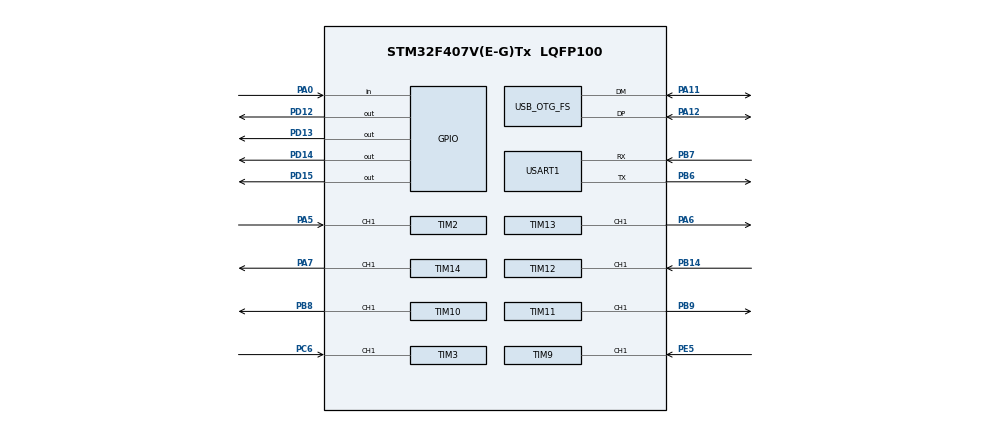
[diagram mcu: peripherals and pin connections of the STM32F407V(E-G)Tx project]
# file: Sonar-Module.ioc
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Dma.Request0=USART1_RX
Dma.Request1=USART1_TX
Dma.USART1_RX.0.Channel=DMA_CHANNEL_4
Dma.USART1_RX.0.Direction=DMA_PERIPH_TO_MEMORY
Dma.USART1_RX.0.FIFOMode=DMA_FIFOMODE_DISABLE
Dma.USART1_RX.0.Instance=DMA2_Stream2
Dma.USART1_RX.0.MemDataAlignment=DMA_MDATAALIGN_BYTE
Dma.USART1_RX.0.MemInc=DMA_MINC_ENABLE
Dma.USART1_RX.0.Mode=DMA_NORMAL
Dma.USART1_RX.0.PeriphDataAlignment=DMA_PDATAALIGN_BYTE
Dma.USART1_RX.0.PeriphInc=DMA_PINC_DISABLE
Dma.USART1_RX.0.Priority=DMA_PRIORITY_LOW
Dma.USART1_TX.1.Channel=DMA_CHANNEL_4
Dma.USART1_TX.1.Direction=DMA_MEMORY_TO_PERIPH
Dma.USART1_TX.1.FIFOMode=DMA_FIFOMODE_DISABLE
Dma.USART1_TX.1.Instance=DMA2_Stream7
Dma.USART1_TX.1.MemDataAlignment=DMA_MDATAALIGN_BYTE
Dma.USART1_TX.1.MemInc=DMA_MINC_DISABLE
Dma.USART1_TX.1.Mode=DMA_NORMAL
Dma.USART1_TX.1.PeriphDataAlignment=DMA_PDATAALIGN_BYTE
Dma.USART1_TX.1.PeriphInc=DMA_PINC_DISABLE
Dma.USART1_TX.1.Priority=DMA_PRIORITY_LOW
Mcu.Family=STM32F4
Mcu.Name=STM32F407V(E-G)Tx
Mcu.Package=LQFP100
NVIC.OTG_FS_IRQn=true\:0\:0
NVIC.TIM1_BRK_TIM9_IRQn=true\:0\:0
NVIC.TIM2_IRQn=true\:0\:0
NVIC.TIM3_IRQn=true\:0\:0
NVIC.TIM8_BRK_TIM12_IRQn=true\:0\:0
NVIC.USART1_IRQn=true\:0\:0
PA0-WKUP.Signal=GPIO_Input
PA11.Mode=Device_Only
PA11.Signal=USB_OTG_FS_DM
PA12.Mode=Device_Only
PA12.Signal=USB_OTG_FS_DP
PA5.GPIO_ModeDefaultPP=GPIO_MODE_AF_PP
PA5.GPIO_PuPd=GPIO_NOPULL
PA5.GPIO_Speed=N/A
PA5.Signal=S_TIM2_CH1_ETR
PA6.GPIO_ModeDefaultPP=GPIO_MODE_AF_PP
PA6.GPIO_PuPd=GPIO_NOPULL
PA6.GPIO_Speed=N/A
PA6.Signal=S_TIM13_CH1
PA7.GPIO_ModeDefaultPP=GPIO_MODE_AF_PP
PA7.GPIO_PuPd=GPIO_NOPULL
PA7.GPIO_Speed=N/A
PA7.Signal=S_TIM14_CH1
PB14.GPIO_ModeDefaultPP=GPIO_MODE_AF_PP
PB14.GPIO_PuPd=GPIO_NOPULL
PB14.GPIO_Speed=N/A
PB14.Signal=S_TIM12_CH1
PB6.Mode=Asynchronous
PB6.Signal=USART1_TX
PB7.Mode=Asynchronous
PB7.Signal=USART1_RX
PB8.Signal=S_TIM10_CH1
PB9.Signal=S_TIM11_CH1
PC6.Signal=S_TIM3_CH1
PD12.GPIO_Mode=GPIO_MODE_OUTPUT_PP
PD12.GPIO_PuPd=GPIO_NOPULL
PD12.GPIO_Speed=GPIO_SPEED_HIGH
PD12.Signal=GPIO_Output
PD13.GPIO_Mode=GPIO_MODE_OUTPUT_PP
PD13.GPIO_PuPd=GPIO_NOPULL
PD13.GPIO_Speed=GPIO_SPEED_HIGH
PD13.Signal=GPIO_Output
PD14.GPIO_Mode=GPIO_MODE_OUTPUT_PP
PD14.GPIO_PuPd=GPIO_NOPULL
PD14.GPIO_Speed=GPIO_SPEED_HIGH
PD14.Signal=GPIO_Output
PD15.GPIO_Mode=GPIO_MODE_OUTPUT_PP
PD15.GPIO_PuPd=GPIO_NOPULL
PD15.GPIO_Speed=GPIO_SPEED_HIGH
PD15.Signal=GPIO_Output
PE5.Signal=S_TIM9_CH1
PH0-OSC_IN.Mode=HSE-External-Clock-Source
PH0-OSC_IN.Signal=RCC_OSC_IN
PH1-OSC_OUT.Mode=HSE-External-Clock-Source
PH1-OSC_OUT.Signal=RCC_OSC_OUT
ProjectManager.TargetToolchain=EWARM 6.70
RCC.APB1CLKDivider=RCC_HCLK_DIV4
RCC.APB2CLKDivider=RCC_HCLK_DIV2
RCC.HSE_VALUE=8000000
RCC.HSI_VALUE=16000000
RCC.LSE_VALUE=32768
RCC.PLLM=8
RCC.PLLN=336
RCC.PLLQ=7
RCC.PLLSource=RCC_PLLSOURCE_HSE
RCC.SYSCLKSource=RCC_SYSCLKSOURCE_PLLCLK
SH.S_TIM10_CH1.0=TIM10_CH1,PWM Generation1 CH1
SH.S_TIM11_CH1.0=TIM11_CH1,PWM Generation1 CH1
SH.S_TIM12_CH1.0=TIM12_CH1,TriggerSource_TI1FP1
SH.S_TIM12_CH1.1=TIM12_CH1,Input_Capture1_from_TI1
SH.S_TIM12_CH1.2=TIM12_CH1,Input_Capture2_from_TI1
SH.S_TIM13_CH1.0=TIM13_CH1,PWM Generation1 CH1
SH.S_TIM14_CH1.0=TIM14_CH1,PWM Generation1 CH1
SH.S_TIM2_CH1_ETR.0=TIM2_CH1,TriggerSource_TI1FP1
SH.S_TIM2_CH1_ETR.1=TIM2_CH1,Input_Capture1_from_TI1
SH.S_TIM2_CH1_ETR.2=TIM2_CH1,Input_Capture2_from_TI1
SH.S_TIM3_CH1.0=TIM3_CH1,TriggerSource_TI1FP1
SH.S_TIM3_CH1.1=TIM3_CH1,Input_Capture1_from_TI1
SH.S_TIM3_CH1.2=TIM3_CH1,Input_Capture2_from_TI1
SH.S_TIM9_CH1.0=TIM9_CH1,TriggerSource_TI1FP1
SH.S_TIM9_CH1.1=TIM9_CH1,Input_Capture1_from_TI1
SH.S_TIM9_CH1.2=TIM9_CH1,Input_Capture2_from_TI1
TIM10.OCFastMode_PWM-PWM\ Generation1\ CH1=TIM_OCFAST_ENABLE
TIM10.OCMode_PWM-PWM\ Generation1\ CH1=TIM_OCMODE_PWM2
TIM10.Period=65535
TIM10.Prescaler=167
TIM10.Pulse-PWM\ Generation1\ CH1=65526
TIM11.OCFastMode_PWM-PWM\ Generation1\ CH1=TIM_OCFAST_ENABLE
TIM11.OCMode_PWM-PWM\ Generation1\ CH1=TIM_OCMODE_PWM2
TIM11.Period=65535
TIM11.Prescaler=167
TIM11.Pulse-PWM\ Generation1\ CH1=65526
TIM12.Channel-Input_Capture2_from_TI1=TIM_CHANNEL_2
TIM12.ICPolarity_CH1-Input_Capture1_from_TI1=TIM_INPUTCHANNELPOLARITY_RISING
TIM12.Period=65535
TIM12.Prescaler=83
TIM13.OCFastMode_PWM-PWM\ Generation1\ CH1=TIM_OCFAST_ENABLE
TIM13.OCMode_PWM-PWM\ Generation1\ CH1=TIM_OCMODE_PWM2
TIM13.Period=65535
TIM13.Prescaler=83
TIM13.Pulse-PWM\ Generation1\ CH1=65526
TIM14.OCFastMode_PWM-PWM\ Generation1\ CH1=TIM_OCFAST_ENABLE
TIM14.OCMode_PWM-PWM\ Generation1\ CH1=TIM_OCMODE_PWM2
TIM14.Period=65535
TIM14.Prescaler=83
TIM14.Pulse-PWM\ Generation1\ CH1=65526
TIM2.Channel-Input_Capture2_from_TI1=TIM_CHANNEL_2
TIM2.Period=65535
TIM2.Prescaler=83
TIM3.Channel-Input_Capture2_from_TI1=TIM_CHANNEL_2
TIM3.Period=65535
TIM3.Prescaler=83
TIM9.Channel-Input_Capture2_from_TI1=TIM_CHANNEL_2
TIM9.Period=65535
TIM9.Prescaler=167
USB_OTG_FS.VirtualMode-Device_Only=Device_Only
USB_OTG_FS.dev_endpoints-Device_Only=7
VP_TIM10_VS_ClockSourceINT.Mode=Enable_Timer
VP_TIM10_VS_OPM.Mode=OPM_bit
VP_TIM11_VS_ClockSourceINT.Mode=Enable_Timer
VP_TIM11_VS_OPM.Mode=OPM_bit
VP_TIM12_VS_ClockSourceINT.Mode=Internal
VP_TIM12_VS_ControllerModeReset.Mode=Reset Mode
VP_TIM13_VS_ClockSourceINT.Mode=Enable_Timer
VP_TIM13_VS_OPM.Mode=OPM_bit
VP_TIM14_VS_ClockSourceINT.Mode=Enable_Timer
VP_TIM14_VS_OPM.Mode=OPM_bit
VP_TIM2_VS_ClockSourceINT.Mode=Internal
VP_TIM2_VS_ControllerModeReset.Mode=Reset Mode
VP_TIM3_VS_ClockSourceINT.Mode=Internal
VP_TIM3_VS_ControllerModeReset.Mode=Reset Mode
VP_TIM9_VS_ClockSourceINT.Mode=Internal
VP_TIM9_VS_ControllerModeReset.Mode=Reset Mode

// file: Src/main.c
/**
  ******************************************************************************
  * File Name          : main.c
  * Date               : 30/04/2014 15:48:37
  * Description        : Main program body
  ******************************************************************************
  *
  * COPYRIGHT(c) 2014 STMicroelectronics
  *
  * Redistribution and use in source and binary forms, with or without modification,
  * are permitted provided that the following conditions are met:
  *   1. Redistributions of source code must retain the above copyright notice,
  *      this list of conditions and the following disclaimer.
  *   2. Redistributions in binary form must reproduce the above copyright notice,
  *      this list of conditions and the following disclaimer in the documentation
  *      and/or other materials provided with the distribution.
  *   3. Neither the name of STMicroelectronics nor the names of its contributors
  *      may be used to endorse or promote products derived from this software
  *      without specific prior written permission.
  *
  * THIS SOFTWARE IS PROVIDED BY THE COPYRIGHT HOLDERS AND CONTRIBUTORS "AS IS"
  * AND ANY EXPRESS OR IMPLIED WARRANTIES, INCLUDING, BUT NOT LIMITED TO, THE
  * IMPLIED WARRANTIES OF MERCHANTABILITY AND FITNESS FOR A PARTICULAR PURPOSE ARE
  * DISCLAIMED. IN NO EVENT SHALL THE COPYRIGHT HOLDER OR CONTRIBUTORS BE LIABLE
  * FOR ANY DIRECT, INDIRECT, INCIDENTAL, SPECIAL, EXEMPLARY, OR CONSEQUENTIAL
  * DAMAGES (INCLUDING, BUT NOT LIMITED TO, PROCUREMENT OF SUBSTITUTE GOODS OR
  * SERVICES; LOSS OF USE, DATA, OR PROFITS; OR BUSINESS INTERRUPTION) HOWEVER
  * CAUSED AND ON ANY THEORY OF LIABILITY, WHETHER IN CONTRACT, STRICT LIABILITY,
  * OR TORT (INCLUDING NEGLIGENCE OR OTHERWISE) ARISING IN ANY WAY OUT OF THE USE
  * OF THIS SOFTWARE, EVEN IF ADVISED OF THE POSSIBILITY OF SUCH DAMAGE.
  *
  ******************************************************************************
  */

#include "stm32f4xx_hal.h"

TIM_HandleTypeDef htim2;
TIM_HandleTypeDef htim3;
TIM_HandleTypeDef htim9;
TIM_HandleTypeDef htim10;
TIM_HandleTypeDef htim11;
TIM_HandleTypeDef htim12;
TIM_HandleTypeDef htim13;
TIM_HandleTypeDef htim14;

UART_HandleTypeDef huart1;
DMA_HandleTypeDef hdma_usart1_rx;
DMA_HandleTypeDef hdma_usart1_tx;

PCD_HandleTypeDef hpcd_USB_OTG_FS;

static void SystemClock_Config(void);
static void MX_GPIO_Init(void);
static void MX_DMA_Init(void);
static void MX_TIM2_Init(void);
static void MX_TIM3_Init(void);
static void MX_TIM9_Init(void);
static void MX_TIM10_Init(void);
static void MX_TIM11_Init(void);
static void MX_TIM12_Init(void);
static void MX_TIM13_Init(void);
static void MX_TIM14_Init(void);
static void MX_USART1_UART_Init(void);
static void MX_USB_OTG_FS_PCD_Init(void);

int main(void)
{

  /* MCU Configuration----------------------------------------------------------*/

  /* Reset of all peripherals, Initializes the Flash interface and the Systick. */
  HAL_Init();

  /* Configure the system clock */
  SystemClock_Config();

  /* Initialize all configured peripherals */
  MX_GPIO_Init();
  MX_DMA_Init();
  MX_TIM2_Init();
  MX_TIM3_Init();
  MX_TIM9_Init();
  MX_TIM10_Init();
  MX_TIM11_Init();
  MX_TIM12_Init();
  MX_TIM13_Init();
  MX_TIM14_Init();
  MX_USART1_UART_Init();
  MX_USB_OTG_FS_PCD_Init();

  /* USER CODE BEGIN 2 */
  HAL_GPIO_WritePin( GPIOD, GPIO_PIN_12, GPIO_PIN_SET );
  HAL_GPIO_WritePin( GPIOD, GPIO_PIN_14, GPIO_PIN_SET );
  HAL_TIM_IC_Start_IT( &htim12, TIM_CHANNEL_2 );
  HAL_TIM_IC_Start_IT( &htim9, TIM_CHANNEL_2 );
  HAL_TIM_IC_Start_IT( &htim2, TIM_CHANNEL_2 );
  HAL_TIM_IC_Start_IT( &htim3, TIM_CHANNEL_2 );
  /* USER CODE END 2 */

  /* USER CODE BEGIN 3 */
  /* Infinite loop */
  while (1)
  {
	  HAL_GPIO_TogglePin( GPIOD, GPIO_PIN_12 );
	  HAL_TIM_PWM_Start( &htim13, TIM_CHANNEL_1 );
	  HAL_TIM_PWM_Start( &htim14, TIM_CHANNEL_1 );
	  HAL_TIM_PWM_Start( &htim11, TIM_CHANNEL_1 );
	  HAL_TIM_PWM_Start( &htim10, TIM_CHANNEL_1 );

	  HAL_Delay( 100 );
  }
  /* USER CODE END 3 */

}

/** System Clock Configuration
*/
static void SystemClock_Config(void)
{
  RCC_ClkInitTypeDef RCC_ClkInitStruct;
  RCC_OscInitTypeDef RCC_OscInitStruct;

  RCC_OscInitStruct.OscillatorType = RCC_OSCILLATORTYPE_HSE;
  RCC_OscInitStruct.HSEState = RCC_HSE_BYPASS;
  RCC_OscInitStruct.PLL.PLLState = RCC_PLL_ON;
  RCC_OscInitStruct.PLL.PLLSource = RCC_PLLSOURCE_HSE;
  RCC_OscInitStruct.PLL.PLLM = 8;
  RCC_OscInitStruct.PLL.PLLN = 336;
  RCC_OscInitStruct.PLL.PLLP = RCC_PLLP_DIV2;
  RCC_OscInitStruct.PLL.PLLQ = 7;
  HAL_RCC_OscConfig(&RCC_OscInitStruct);

  RCC_ClkInitStruct.ClockType = RCC_CLOCKTYPE_SYSCLK|RCC_CLOCKTYPE_PCLK1|RCC_CLOCKTYPE_PCLK2;
  RCC_ClkInitStruct.SYSCLKSource = RCC_SYSCLKSOURCE_PLLCLK;
  RCC_ClkInitStruct.APB1CLKDivider = RCC_HCLK_DIV4;
  RCC_ClkInitStruct.APB2CLKDivider = RCC_HCLK_DIV2;
  HAL_RCC_ClockConfig(&RCC_ClkInitStruct, FLASH_LATENCY_5);

}

/* TIM2 init function */
void MX_TIM2_Init(void)
{
  TIM_ClockConfigTypeDef sClockSourceConfig;
  TIM_IC_InitTypeDef sConfigIC;
  TIM_SlaveConfigTypeDef sSlaveConfig;
  TIM_MasterConfigTypeDef sMasterConfig;

  htim2.Instance = TIM2;
  htim2.Init.Prescaler = 83;
  htim2.Init.CounterMode = TIM_COUNTERMODE_UP;
  htim2.Init.Period = 65535;
  htim2.Init.ClockDivision = TIM_CLOCKDIVISION_DIV1;
  HAL_TIM_Base_Init(&htim2);

  sClockSourceConfig.ClockSource = TIM_CLOCKSOURCE_INTERNAL;
  HAL_TIM_ConfigClockSource(&htim2, &sClockSourceConfig);

  HAL_TIM_IC_Init(&htim2);

  sConfigIC.ICPolarity = TIM_INPUTCHANNELPOLARITY_RISING;
  sConfigIC.ICSelection = TIM_ICSELECTION_DIRECTTI;
  sConfigIC.ICPrescaler = TIM_ICPSC_DIV1;
  sConfigIC.ICFilter = 0;
  HAL_TIM_IC_ConfigChannel(&htim2, &sConfigIC, TIM_CHANNEL_1);

  sConfigIC.ICSelection = TIM_ICSELECTION_INDIRECTTI;
  HAL_TIM_IC_ConfigChannel(&htim2, &sConfigIC, TIM_CHANNEL_2);

  sSlaveConfig.SlaveMode = TIM_SLAVEMODE_RESET;
  sSlaveConfig.InputTrigger = TIM_TS_TI1FP1;
  sSlaveConfig.TriggerPolarity = TIM_INPUTCHANNELPOLARITY_RISING;
  sSlaveConfig.TriggerFilter = 0;
  HAL_TIM_SlaveConfigSynchronization(&htim2, &sSlaveConfig);

  sMasterConfig.MasterOutputTrigger = TIM_TRGO_RESET;
  sMasterConfig.MasterSlaveMode = TIM_MASTERSLAVEMODE_DISABLE;
  HAL_TIMEx_MasterConfigSynchronization(&htim2, &sMasterConfig);

}

/* TIM3 init function */
void MX_TIM3_Init(void)
{
  TIM_ClockConfigTypeDef sClockSourceConfig;
  TIM_IC_InitTypeDef sConfigIC;
  TIM_SlaveConfigTypeDef sSlaveConfig;
  TIM_MasterConfigTypeDef sMasterConfig;

  htim3.Instance = TIM3;
  htim3.Init.Prescaler = 83;
  htim3.Init.CounterMode = TIM_COUNTERMODE_UP;
  htim3.Init.Period = 65535;
  htim3.Init.ClockDivision = TIM_CLOCKDIVISION_DIV1;
  HAL_TIM_Base_Init(&htim3);

  sClockSourceConfig.ClockSource = TIM_CLOCKSOURCE_INTERNAL;
  HAL_TIM_ConfigClockSource(&htim3, &sClockSourceConfig);

  HAL_TIM_IC_Init(&htim3);

  sConfigIC.ICPolarity = TIM_INPUTCHANNELPOLARITY_RISING;
  sConfigIC.ICSelection = TIM_ICSELECTION_DIRECTTI;
  sConfigIC.ICPrescaler = TIM_ICPSC_DIV1;
  sConfigIC.ICFilter = 0;
  HAL_TIM_IC_ConfigChannel(&htim3, &sConfigIC, TIM_CHANNEL_1);

  sConfigIC.ICSelection = TIM_ICSELECTION_INDIRECTTI;
  HAL_TIM_IC_ConfigChannel(&htim3, &sConfigIC, TIM_CHANNEL_2);

  sSlaveConfig.SlaveMode = TIM_SLAVEMODE_RESET;
  sSlaveConfig.InputTrigger = TIM_TS_TI1FP1;
  sSlaveConfig.TriggerPolarity = TIM_INPUTCHANNELPOLARITY_RISING;
  sSlaveConfig.TriggerFilter = 0;
  HAL_TIM_SlaveConfigSynchronization(&htim3, &sSlaveConfig);

  sMasterConfig.MasterOutputTrigger = TIM_TRGO_RESET;
  sMasterConfig.MasterSlaveMode = TIM_MASTERSLAVEMODE_DISABLE;
  HAL_TIMEx_MasterConfigSynchronization(&htim3, &sMasterConfig);

}

/* TIM9 init function */
void MX_TIM9_Init(void)
{
  TIM_ClockConfigTypeDef sClockSourceConfig;
  TIM_IC_InitTypeDef sConfigIC;
  TIM_SlaveConfigTypeDef sSlaveConfig;

  htim9.Instance = TIM9;
  htim9.Init.Prescaler = 167;
  htim9.Init.CounterMode = TIM_COUNTERMODE_UP;
  htim9.Init.Period = 65535;
  htim9.Init.ClockDivision = TIM_CLOCKDIVISION_DIV1;
  HAL_TIM_Base_Init(&htim9);

  sClockSourceConfig.ClockSource = TIM_CLOCKSOURCE_INTERNAL;
  HAL_TIM_ConfigClockSource(&htim9, &sClockSourceConfig);

  HAL_TIM_IC_Init(&htim9);

  sConfigIC.ICPolarity = TIM_INPUTCHANNELPOLARITY_RISING;
  sConfigIC.ICSelection = TIM_ICSELECTION_DIRECTTI;
  sConfigIC.ICPrescaler = TIM_ICPSC_DIV1;
  sConfigIC.ICFilter = 0;
  HAL_TIM_IC_ConfigChannel(&htim9, &sConfigIC, TIM_CHANNEL_1);

  sConfigIC.ICSelection = TIM_ICSELECTION_INDIRECTTI;
  HAL_TIM_IC_ConfigChannel(&htim9, &sConfigIC, TIM_CHANNEL_2);

  sSlaveConfig.SlaveMode = TIM_SLAVEMODE_RESET;
  sSlaveConfig.InputTrigger = TIM_TS_TI1FP1;
  sSlaveConfig.TriggerPolarity = TIM_INPUTCHANNELPOLARITY_RISING;
  sSlaveConfig.TriggerFilter = 0;
  HAL_TIM_SlaveConfigSynchronization(&htim9, &sSlaveConfig);

}

/* TIM10 init function */
void MX_TIM10_Init(void)
{
  TIM_OC_InitTypeDef sConfigOC;

  htim10.Instance = TIM10;
  htim10.Init.Prescaler = 167;
  htim10.Init.CounterMode = TIM_COUNTERMODE_UP;
  htim10.Init.Period = 65535;
  htim10.Init.ClockDivision = TIM_CLOCKDIVISION_DIV1;
  HAL_TIM_Base_Init(&htim10);

  HAL_TIM_PWM_Init(&htim10);

  HAL_TIM_OnePulse_Init(&htim10, TIM_OPMODE_SINGLE);

  sConfigOC.OCMode = TIM_OCMODE_PWM2;
  sConfigOC.Pulse = 65526;
  sConfigOC.OCPolarity = TIM_OCPOLARITY_HIGH;
  sConfigOC.OCFastMode = TIM_OCFAST_ENABLE;
  HAL_TIM_PWM_ConfigChannel(&htim10, &sConfigOC, TIM_CHANNEL_1);

}

/* TIM11 init function */
void MX_TIM11_Init(void)
{
  TIM_OC_InitTypeDef sConfigOC;

  htim11.Instance = TIM11;
  htim11.Init.Prescaler = 167;
  htim11.Init.CounterMode = TIM_COUNTERMODE_UP;
  htim11.Init.Period = 65535;
  htim11.Init.ClockDivision = TIM_CLOCKDIVISION_DIV1;
  HAL_TIM_Base_Init(&htim11);

  HAL_TIM_PWM_Init(&htim11);

  HAL_TIM_OnePulse_Init(&htim11, TIM_OPMODE_SINGLE);

  sConfigOC.OCMode = TIM_OCMODE_PWM2;
  sConfigOC.Pulse = 65526;
  sConfigOC.OCPolarity = TIM_OCPOLARITY_HIGH;
  sConfigOC.OCFastMode = TIM_OCFAST_ENABLE;
  HAL_TIM_PWM_ConfigChannel(&htim11, &sConfigOC, TIM_CHANNEL_1);

}

/* TIM12 init function */
void MX_TIM12_Init(void)
{
  TIM_ClockConfigTypeDef sClockSourceConfig;
  TIM_IC_InitTypeDef sConfigIC;
  TIM_SlaveConfigTypeDef sSlaveConfig;

  htim12.Instance = TIM12;
  htim12.Init.Prescaler = 83;
  htim12.Init.CounterMode = TIM_COUNTERMODE_UP;
  htim12.Init.Period = 65535;
  htim12.Init.ClockDivision = TIM_CLOCKDIVISION_DIV1;
  HAL_TIM_Base_Init(&htim12);

  sClockSourceConfig.ClockSource = TIM_CLOCKSOURCE_INTERNAL;
  HAL_TIM_ConfigClockSource(&htim12, &sClockSourceConfig);

  HAL_TIM_IC_Init(&htim12);

  sConfigIC.ICPolarity = TIM_INPUTCHANNELPOLARITY_RISING;
  sConfigIC.ICSelection = TIM_ICSELECTION_DIRECTTI;
  sConfigIC.ICPrescaler = TIM_ICPSC_DIV1;
  sConfigIC.ICFilter = 0;
  HAL_TIM_IC_ConfigChannel(&htim12, &sConfigIC, TIM_CHANNEL_1);

  sConfigIC.ICSelection = TIM_ICSELECTION_INDIRECTTI;
  HAL_TIM_IC_ConfigChannel(&htim12, &sConfigIC, TIM_CHANNEL_2);

  sSlaveConfig.SlaveMode = TIM_SLAVEMODE_RESET;
  sSlaveConfig.InputTrigger = TIM_TS_TI1FP1;
  sSlaveConfig.TriggerPolarity = TIM_INPUTCHANNELPOLARITY_RISING;
  sSlaveConfig.TriggerFilter = 0;
  HAL_TIM_SlaveConfigSynchronization(&htim12, &sSlaveConfig);

}

/* TIM13 init function */
void MX_TIM13_Init(void)
{
  TIM_OC_InitTypeDef sConfigOC;

  htim13.Instance = TIM13;
  htim13.Init.Prescaler = 83;
  htim13.Init.CounterMode = TIM_COUNTERMODE_UP;
  htim13.Init.Period = 65535;
  htim13.Init.ClockDivision = TIM_CLOCKDIVISION_DIV1;
  HAL_TIM_Base_Init(&htim13);

  HAL_TIM_PWM_Init(&htim13);

  HAL_TIM_OnePulse_Init(&htim13, TIM_OPMODE_SINGLE);

  sConfigOC.OCMode = TIM_OCMODE_PWM2;
  sConfigOC.Pulse = 65526;
  sConfigOC.OCPolarity = TIM_OCPOLARITY_HIGH;
  sConfigOC.OCFastMode = TIM_OCFAST_ENABLE;
  HAL_TIM_PWM_ConfigChannel(&htim13, &sConfigOC, TIM_CHANNEL_1);

}

/* TIM14 init function */
void MX_TIM14_Init(void)
{
  TIM_OC_InitTypeDef sConfigOC;

  htim14.Instance = TIM14;
  htim14.Init.Prescaler = 83;
  htim14.Init.CounterMode = TIM_COUNTERMODE_UP;
  htim14.Init.Period = 65535;
  htim14.Init.ClockDivision = TIM_CLOCKDIVISION_DIV1;
  HAL_TIM_Base_Init(&htim14);

  HAL_TIM_PWM_Init(&htim14);

  HAL_TIM_OnePulse_Init(&htim14, TIM_OPMODE_SINGLE);

  sConfigOC.OCMode = TIM_OCMODE_PWM2;
  sConfigOC.Pulse = 65526;
  sConfigOC.OCPolarity = TIM_OCPOLARITY_HIGH;
  sConfigOC.OCFastMode = TIM_OCFAST_ENABLE;
  HAL_TIM_PWM_ConfigChannel(&htim14, &sConfigOC, TIM_CHANNEL_1);

}

/* USART1 init function */
void MX_USART1_UART_Init(void)
{

  huart1.Instance = USART1;
  huart1.Init.BaudRate = 115200;
  huart1.Init.WordLength = UART_WORDLENGTH_8B;
  huart1.Init.StopBits = UART_STOPBITS_1;
  huart1.Init.Parity = UART_PARITY_NONE;
  huart1.Init.Mode = UART_MODE_TX_RX;
  huart1.Init.HwFlowCtl = UART_HWCONTROL_NONE;
  huart1.Init.OverSampling = UART_OVERSAMPLING_16;
  HAL_UART_Init(&huart1);

}

/* USB_OTG_FS init function */
void MX_USB_OTG_FS_PCD_Init(void)
{

  hpcd_USB_OTG_FS.Instance = USB_OTG_FS;
  hpcd_USB_OTG_FS.Init.dev_endpoints = 7;
  hpcd_USB_OTG_FS.Init.speed = PCD_SPEED_FULL;
  hpcd_USB_OTG_FS.Init.dma_enable = DISABLE;
  hpcd_USB_OTG_FS.Init.ep0_mps = DEP0CTL_MPS_64;
  hpcd_USB_OTG_FS.Init.phy_itface = PCD_PHY_EMBEDDED;
  hpcd_USB_OTG_FS.Init.Sof_enable = DISABLE;
  hpcd_USB_OTG_FS.Init.low_power_enable = ENABLE;
  hpcd_USB_OTG_FS.Init.vbus_sensing_enable = DISABLE;
  hpcd_USB_OTG_FS.Init.use_dedicated_ep1 = DISABLE;
  hpcd_USB_OTG_FS.Init.use_external_vbus = DISABLE;
  HAL_PCD_Init(&hpcd_USB_OTG_FS);

}

void MX_DMA_Init(void)
{
  /* DMA controller clock enable */
  __DMA2_CLK_ENABLE();

  /* DMA interrupt init */

}

/** Configure pins as
        * Analog
        * Input
        * Output
        * EVENT_OUT
        * EXTI
*/
void MX_GPIO_Init(void)
{
  GPIO_InitTypeDef GPIO_InitStruct;

  /* GPIO Ports Clock Enable */
  __GPIOE_CLK_ENABLE();
  __GPIOH_CLK_ENABLE();
  __GPIOA_CLK_ENABLE();
  __GPIOB_CLK_ENABLE();
  __GPIOD_CLK_ENABLE();
  __GPIOC_CLK_ENABLE();

  /*Configure GPIO pin : PA0 */
  GPIO_InitStruct.Pin = GPIO_PIN_0;
  GPIO_InitStruct.Mode = GPIO_MODE_INPUT;
  GPIO_InitStruct.Pull = GPIO_NOPULL;
  HAL_GPIO_Init(GPIOA, &GPIO_InitStruct);

  /*Configure GPIO pins : PD12 PD13 PD14 PD15 */
  GPIO_InitStruct.Pin = GPIO_PIN_12|GPIO_PIN_13|GPIO_PIN_14|GPIO_PIN_15;
  GPIO_InitStruct.Mode = GPIO_MODE_OUTPUT_PP;
  GPIO_InitStruct.Pull = GPIO_NOPULL;
  GPIO_InitStruct.Speed = GPIO_SPEED_HIGH;
  HAL_GPIO_Init(GPIOD, &GPIO_InitStruct);
}

/* USER CODE BEGIN 4 */
uint32_t ic_val;
uint32_t range_mm;
void HAL_TIM_IC_CaptureCallback(TIM_HandleTypeDef *htim)
{
	ic_val = HAL_TIM_ReadCapturedValue( htim, TIM_CHANNEL_2 );
	range_mm = (int)((float)ic_val*0.175f+0.5f);
	HAL_GPIO_TogglePin( GPIOD, GPIO_PIN_14 );
}

/* USER CODE END 4 */

/************************ (C) COPYRIGHT STMicroelectronics *****END OF FILE****/
